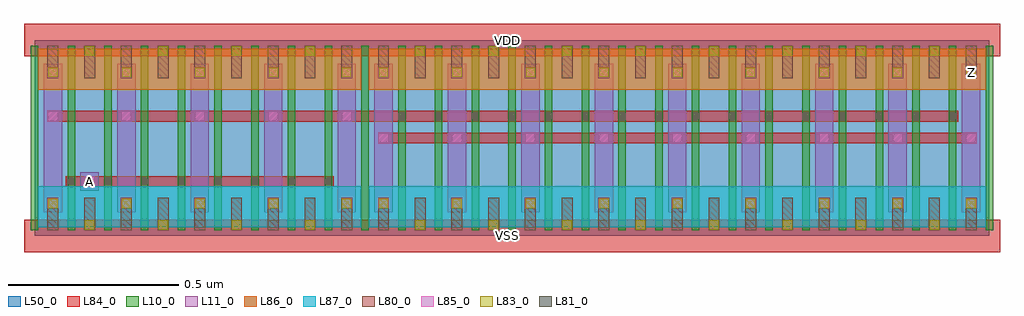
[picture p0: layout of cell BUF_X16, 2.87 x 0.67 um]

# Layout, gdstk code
import gdstk
lib = gdstk.Library(unit=1e-6, precision=1e-09)
def R(c, l, rs):  # rectangles x0, y0, x1, y1
    for r in rs: c.add(gdstk.rectangle(r[:2], r[2:], *l))
def A(c, l, x, y, w, h, nx, ny, dx, dy):  # array of equal rectangles
    R(c, l, [(x+i*dx, y+j*dy, x+i*dx+w, y+j*dy+h) for i in range(nx) for j in range(ny)])
L10_0 = (10, 0)
L11_0 = (11, 0)
L50_0 = (50, 0)
L80_0 = (80, 0)
L81_0 = (81, 0)
L83_0 = (83, 0)
L84_0 = (84, 0)
L85_0 = (85, 0)
L86_0 = (86, 0)
L87_0 = (87, 0)

buf_x16 = lib.new_cell('BUF_X16')
A(buf_x16, L10_0, -0.011, 0.016, 0.022, 0.544, 5, 1, 0.108, 0)
A(buf_x16, L10_0, 0.529, 0.016, 0.022, 0.544, 5, 1, 0.108, 0)
A(buf_x16, L10_0, 0.961, 0.016, 0.022, 0.544, 5, 1, 0.108, 0)
A(buf_x16, L10_0, 1.501, 0.016, 0.022, 0.544, 4, 1, 0.108, 0)
A(buf_x16, L10_0, 1.933, 0.016, 0.022, 0.544, 4, 1, 0.108, 0)
A(buf_x16, L10_0, 2.365, 0.016, 0.022, 0.544, 5, 1, 0.108, 0)
R(buf_x16, L10_0, [(0.421,0.016,0.443,0.56), (0.529,0.016,0.551,0.56), (1.393,0.016,1.415,0.56), (1.501,0.016,1.523,0.56), (1.825,0.016,1.847,0.56), (1.933,0.016,1.955,0.56), (2.257,0.016,2.279,0.56), (2.365,0.016,2.387,0.56)])
A(buf_x16, L11_0, 0.027, 0.069, 0.054, 0.438, 3, 1, 0.216, 0)
A(buf_x16, L11_0, 0.459, 0.069, 0.054, 0.438, 3, 1, 0.216, 0)
A(buf_x16, L11_0, 0.999, 0.069, 0.054, 0.438, 3, 1, 0.216, 0)
A(buf_x16, L11_0, 1.431, 0.069, 0.054, 0.438, 3, 1, 0.216, 0)
A(buf_x16, L11_0, 1.863, 0.069, 0.054, 0.438, 3, 1, 0.216, 0)
A(buf_x16, L11_0, 2.295, 0.069, 0.054, 0.438, 3, 1, 0.216, 0)
R(buf_x16, L11_0, [(0.135,0.133,0.189,0.187)])
R(buf_x16, L50_0, [(0,0,2.808,0.576)])
A(buf_x16, L80_0, 0.038, 0.016, 0.032, 0.096, 5, 2, 0.108, 0.448)
A(buf_x16, L80_0, 0.47, 0.016, 0.032, 0.096, 10, 2, 0.108, 0.448)
A(buf_x16, L80_0, 1.442, 0.016, 0.032, 0.096, 5, 2, 0.108, 0.448)
A(buf_x16, L80_0, 1.874, 0.016, 0.032, 0.096, 5, 2, 0.108, 0.448)
A(buf_x16, L80_0, 2.306, 0.016, 0.032, 0.096, 5, 2, 0.108, 0.448)
A(buf_x16, L81_0, 0.098, 0.15, 0.02, 0.02, 8, 1, 0.108, 0)
A(buf_x16, L81_0, 1.07, 0.342, 0.02, 0.02, 16, 1, 0.108, 0)
A(buf_x16, L83_0, 0.148, 0.018, 0.028, 0.028, 4, 2, 0.216, 0.512)
A(buf_x16, L83_0, 1.12, 0.018, 0.028, 0.028, 8, 2, 0.216, 0.512)
A(buf_x16, L83_0, 0.04, 0.082, 0.028, 0.028, 3, 2, 0.216, 0.384)
A(buf_x16, L83_0, 0.472, 0.082, 0.028, 0.028, 3, 2, 0.216, 0.384)
A(buf_x16, L83_0, 1.012, 0.082, 0.028, 0.028, 3, 2, 0.216, 0.384)
A(buf_x16, L83_0, 1.444, 0.082, 0.028, 0.028, 3, 2, 0.216, 0.384)
A(buf_x16, L83_0, 1.876, 0.082, 0.028, 0.028, 3, 2, 0.216, 0.384)
A(buf_x16, L83_0, 2.308, 0.082, 0.028, 0.028, 3, 2, 0.216, 0.384)
A(buf_x16, L84_0, 0.941, -0.048, 0.602, 0.096, 4, 2, 0.432, 0.576)
A(buf_x16, L84_0, 0.038, 0.08, 0.032, 0.032, 3, 2, 0.216, 0.384)
A(buf_x16, L84_0, 0.47, 0.08, 0.032, 0.032, 3, 2, 0.216, 0.384)
A(buf_x16, L84_0, 1.01, 0.08, 0.032, 0.032, 3, 2, 0.216, 0.384)
A(buf_x16, L84_0, 1.442, 0.08, 0.032, 0.032, 3, 2, 0.216, 0.384)
A(buf_x16, L84_0, 1.874, 0.08, 0.032, 0.032, 3, 2, 0.216, 0.384)
A(buf_x16, L84_0, 2.306, 0.08, 0.032, 0.032, 3, 2, 0.216, 0.384)
A(buf_x16, L84_0, 1.01, 0.272, 0.464, 0.032, 4, 1, 0.432, 0)
R(buf_x16, L84_0, [(-0.031,-0.048,0.571,0.048), (0.401,-0.048,1.003,0.048), (0.092,0.144,0.448,0.176), (0.409,0.144,0.88,0.176), (0.038,0.336,0.502,0.368), (0.47,0.336,0.934,0.368), (0.881,0.336,1.42,0.368), (1.381,0.336,1.958,0.368), (1.928,0.336,2.284,0.368), (2.245,0.336,2.716,0.368), (-0.031,0.528,0.571,0.624), (0.401,0.528,1.003,0.624)])
A(buf_x16, L85_0, 0.039, 0.081, 0.03, 0.03, 3, 2, 0.216, 0.256)
A(buf_x16, L85_0, 0.471, 0.081, 0.03, 0.03, 3, 2, 0.216, 0.256)
A(buf_x16, L85_0, 1.011, 0.081, 0.03, 0.03, 3, 3, 0.216, 0.192)
A(buf_x16, L85_0, 1.443, 0.081, 0.03, 0.03, 3, 3, 0.216, 0.192)
A(buf_x16, L85_0, 1.875, 0.081, 0.03, 0.03, 3, 3, 0.216, 0.192)
A(buf_x16, L85_0, 2.307, 0.081, 0.03, 0.03, 3, 3, 0.216, 0.192)
A(buf_x16, L85_0, 0.039, 0.465, 0.03, 0.03, 3, 1, 0.216, 0)
A(buf_x16, L85_0, 0.471, 0.465, 0.03, 0.03, 3, 1, 0.216, 0)
R(buf_x16, L85_0, [(0.147,0.145,0.177,0.175)])
A(buf_x16, L86_0, 0.983, 0.43, 0.518, 0.12, 4, 1, 0.432, 0)
R(buf_x16, L86_0, [(0.011,0.43,0.529,0.55), (0.443,0.43,0.961,0.55)])
A(buf_x16, L87_0, 0.983, 0.026, 0.518, 0.12, 4, 1, 0.432, 0)
R(buf_x16, L87_0, [(0.011,0.026,0.529,0.146), (0.443,0.026,0.961,0.146)])
buf_x16.add(gdstk.Label('VDD', (1.392,0.576), layer=88, texttype=0))
buf_x16.add(gdstk.Label('VSS', (1.392,0), layer=88, texttype=0))
buf_x16.add(gdstk.Label('Z', (2.754,0.48), layer=31, texttype=0))
buf_x16.add(gdstk.Label('A', (0.162,0.16), layer=31, texttype=0))

lib.write_gds('BUF_X16.gds')
